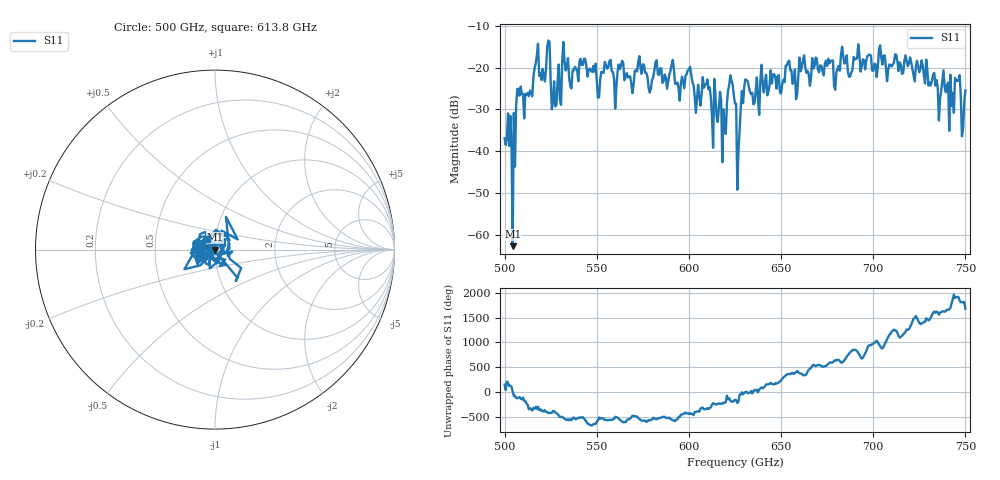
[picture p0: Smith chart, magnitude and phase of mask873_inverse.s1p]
!Created with skrf (http://scikit-rf.org).
# GHz S MA R 50.0
!freq magS11 angS11
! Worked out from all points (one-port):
!   401 points, 500 GHz to 750 GHz, reference 50 ohm
!   lowest |S11| = -62.6 dB at 504.4 GHz (marker M1), VSWR 1.00, Z = 50.1 + j0.0252 ohm
!   |S11| at or under -10 dB: start of sweep to end of sweep
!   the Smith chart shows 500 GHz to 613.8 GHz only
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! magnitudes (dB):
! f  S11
! 500 GHz  -36.9
! 502.5 GHz  -38.7
! 504.4 GHz  -62.6
! 507.5 GHz  -25.1
! 513.8 GHz  -25.5
! 516.9 GHz  -19.0
! 520.6 GHz  -20.3
! 523.8 GHz  -13.5
! 526.9 GHz  -23.3
! 531.2 GHz  -18.4
! 560 GHz  -29.8
! 562.5 GHz  -20.4
! 579.4 GHz  -25.0
! 590.6 GHz  -19.3
! 593.8 GHz  -23.6
! 608.8 GHz  -24.1
! 619.4 GHz  -34.0
! 622.5 GHz  -21.9
! 625 GHz  -28.6
! 627.5 GHz  -35.1
! 631.2 GHz  -23.0
! 656.2 GHz  -23.9
! 680 GHz  -21.1
! 683.8 GHz  -17.4
! 687.5 GHz  -22.1
! 691.2 GHz  -17.8
! 718.8 GHz  -19.7
! 750 GHz  -25.4
